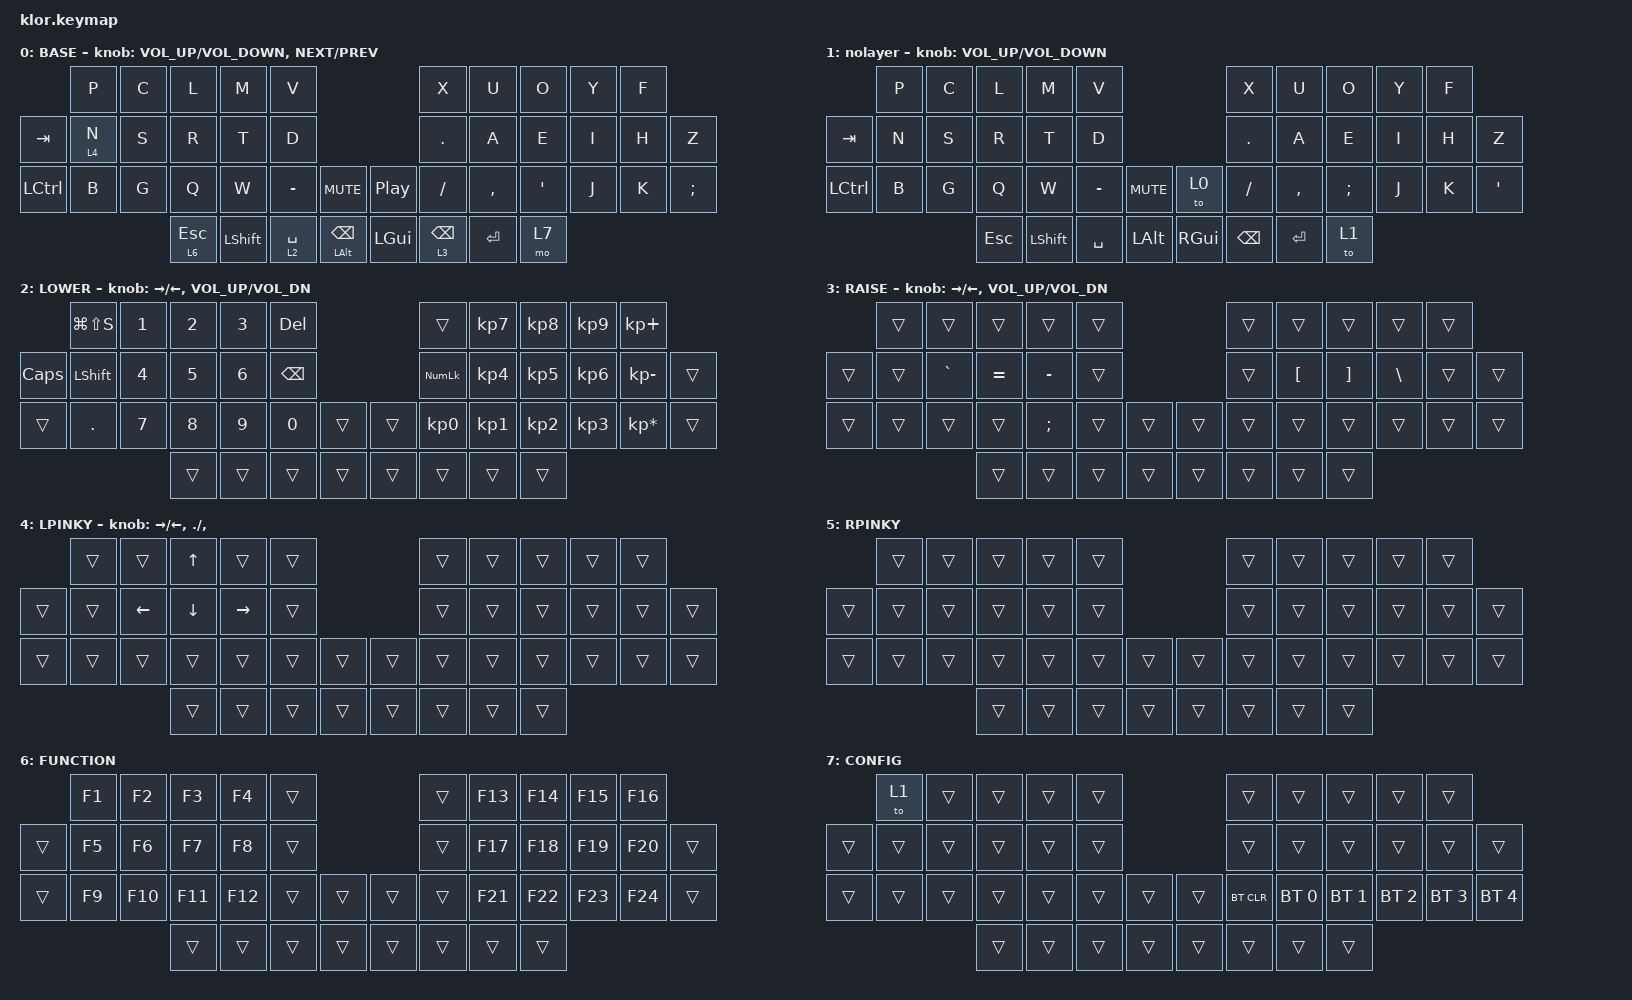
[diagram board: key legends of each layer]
//                               █         █    █            ▄▄▄▀▀▀▀▀▀▄▄▄        █▀▀▀▀▀▀▀▀▀▀█
//                               █        █     █          ▄▀            ▀▄      █          █
//                               █       █      █        ▄▀                ▀▄    █          █
//                               █      █       █        █                  █    █          █
//                               █     █        █       █                    █   █          █
//                               █    █         █       █                    █   █▄▄▄▄▄▄▄▄▄▄█
//                               █   █ █        █       █                    █   █      █
//                               █  █   █       █        █                  █    █       █
//                               █ █     █      █        ▀▄                ▄▀    █        █
//                               ██       █     █          ▀▄            ▄▀      █         █
//                               █         █    █▄▄▄▄▄▄▄▄    ▀▀▀▄▄▄▄▄▄▀▀▀        █          █
//
// ▄▄▄▄▄▄▄▄▄▄▄▄▄▄▄▄▄▄▄▄▄▄▄▄▄▄▄▄▄▄▄▄▄▄▄▄▄▄▄▄▄▄▄▄▄▄▄▄▄▄▄▄▄▄▄▄▄▄▄▄▄▄▄▄▄▄▄▄▄▄▄▄▄▄▄▄▄▄▄▄▄▄▄▄▄▄▄▄▄▄▄▄▄▄▄▄▄▄▄▄▄▄▄▄▄▄▄▄▄▄▄▄▄▄▄▄▄▄▄▄▄▄▄▄▄

#include <behaviors.dtsi>
#include <dt-bindings/zmk/bt.h>
#include <dt-bindings/zmk/keys.h>
#include <dt-bindings/zmk/pointing.h>

#define BASE   0
#define LOWER  1
#define RAISE  2
#define ADJUST 3

/ {
    behaviors {
        hm: homerow_mods {
            compatible = "zmk,behavior-hold-tap";
            label = "HOMEROW_MODS";
            #binding-cells = <2>;
            tapping-term-ms = <150>;
            quick_tap_ms = <0>;
            flavor = "tap-preferred";
            bindings = <&kp>, <&kp>;
        };

        enc_msc_vert: enc_msc_vert {
            compatible = "zmk,behavior-sensor-rotate";
            label = "ENC_MSC_VERT";
            #sensor-binding-cells = <0>;
            bindings = <&msc SCRL_UP>, <&msc SCRL_DOWN>;
        };

        enc_msc_hori: enc_msc_hori {
            compatible = "zmk,behavior-sensor-rotate";
            label = "ENC_MSC_HORI";
            #sensor-binding-cells = <0>;
            bindings = <&msc SCRL_LEFT>, <&msc SCRL_RIGHT>;
        };
    };

    combos {
        compatible = "zmk,combos";

        copycombo {
            bindings = <&kp LC(C)>;
            key-positions = <13 14>;
            timeout-ms = <30>;
            layers = <0>;
        };

        pastecombo {
            bindings = <&kp LC(V)>;
            key-positions = <14 25>;
            timeout-ms = <30>;
            require-prior-idle-ms = <30>;
            layers = <0>;
        };

        cutcombo {
            bindings = <&kp LC(X)>;
            key-positions = <13 3>;
            timeout-ms = <30>;
            require-prior-idle-ms = <30>;
            layers = <0>;
        };

        savecombo {
            bindings = <&kp LC(S)>;
            key-positions = <13 12>;
            timeout-ms = <30>;
            require-prior-idle-ms = <30>;
            layers = <0>;
        };

        undocombo {
            bindings = <&kp LC(Z)>;
            key-positions = <24 25>;
            timeout-ms = <30>;
            require-prior-idle-ms = <30>;
            layers = <0>;
        };

        redocombo {
            bindings = <&kp LC(LS(Z))>;
            key-positions = <24 26>;
            timeout-ms = <30>;
            require-prior-idle-ms = <30>;
            layers = <0>;
        };

        LOWERredoycombo {
            bindings = <&kp LC(Y)>;
            key-positions = <24 26>;
            timeout-ms = <30>;
            require-prior-idle-ms = <30>;
            layers = <2>;
        };

        alttab {
            bindings = <&kp LA(TAB)>;
            key-positions = <14 11>;
            timeout-ms = <30>;
            require-prior-idle-ms = <30>;
            layers = <0>;
        };

        clipboardpaste {
            bindings = <&kp LC(GRAVE)>;
            key-positions = <14 24>;
            timeout-ms = <30>;
            require-prior-idle-ms = <30>;
            layers = <0>;
        };

        gdlcopycombo {
            bindings = <&gallerydlcopy>;
            key-positions = <>;
            timeout-ms = <30>;
            require-prior-idle-ms = <30>;
            layers = <0>;
        };

        gdlpastecombo {
            bindings = <&gallerydlpaste>;
            key-positions = <>;
            timeout-ms = <30>;
            require-prior-idle-ms = <30>;
            layers = <0>;
        };

        entercombo {
            bindings = <&kp ENTER>;
            key-positions = <25 26>;
            timeout-ms = <30>;
            require-prior-idle-ms = <30>;
            layers = <0>;
        };

        ctrlbksp {
            bindings = <&kp LC(BACKSPACE)>;
            key-positions = <17 18>;
            timeout-ms = <30>;
            require-prior-idle-ms = <30>;
            layers = <0>;
        };

        ctrlcombo {
            bindings = <&kp LC(A)>;
            key-positions = <14 12>;
            timeout-ms = <30>;
            layers = <0>;
        };

        LPINKYtabright {
            bindings = <&kp LC(TAB)>;
            key-positions = <13 14>;
            timeout-ms = <30>;
            require-prior-idle-ms = <30>;
            layers = <4>;
        };

        LPINKYtableft {
            bindings = <&kp LC(LS(TAB))>;
            key-positions = <12 13>;
            timeout-ms = <30>;
            require-prior-idle-ms = <30>;
            layers = <4>;
        };

        LPINKYtabclose {
            bindings = <&kp LC(W)>;
            key-positions = <12 14>;
            timeout-ms = <30>;
            require-prior-idle-ms = <30>;
            layers = <4>;
        };

        LPINKYtabreopen {
            bindings = <&kp LC(LS(T))>;
            key-positions = <14 25>;
            timeout-ms = <30>;
            require-prior-idle-ms = <30>;
            layers = <4>;
        };

        LPINKYtabnew {
            bindings = <&kp LC(T)>;
            key-positions = <25 26>;
            timeout-ms = <30>;
            require-prior-idle-ms = <30>;
            layers = <4>;
        };

        LPINKYrefresh {
            bindings = <&kp K_REFRESH>;
            key-positions = <1 3>;
            timeout-ms = <30>;
            require-prior-idle-ms = <30>;
            layers = <4>;
        };

        comboaltf4 {
            bindings = <&kp LA(F4)>;
            key-positions = <>;
            timeout-ms = <30>;
            require-prior-idle-ms = <30>;
            layers = <0>;
        };

        FLASHMODE {
            bindings = <&bootloader>;
            key-positions = <10 21>;
            timeout-ms = <30>;
            require-prior-idle-ms = <30>;
            layers = <7>;
        };

        shiftbksp {
            bindings = <&kp LS(BACKSPACE)>;
            key-positions = <17 19>;
            timeout-ms = <30>;
            require-prior-idle-ms = <30>;
            layers = <0>;
        };

        ctrllarrow {
            bindings = <&kp LC(LEFT_ARROW)>;
            key-positions = <31 32>;
            timeout-ms = <30>;
            require-prior-idle-ms = <30>;
            layers = <0>;
        };

        ctrlrarrow {
            bindings = <&kp LC(RIGHT)>;
            key-positions = <32 33>;
            timeout-ms = <30>;
            require-prior-idle-ms = <30>;
            layers = <0>;
        };

        combohomeend {
            bindings = <&homeend>;
            key-positions = <33 31>;
            timeout-ms = <30>;
            require-prior-idle-ms = <30>;
            layers = <0>;
        };
    };

    macros {
        gallerydlcopy: gallerydlcopy {
            compatible = "zmk,behavior-macro";
            #binding-cells = <0>;
            bindings = <&kp LC(C) &kp LA(TAB)>;
            label = "GALLERYDLCOPY";
        };

        gallerydlpaste: gallerydlpaste {
            compatible = "zmk,behavior-macro";
            #binding-cells = <0>;
            bindings = <&kp LC(V) &kp SPACE &kp LA(TAB)>;
            label = "GALLERYDLPASTE";
        };

        homeend: homeend {
            compatible = "zmk,behavior-macro";
            #binding-cells = <0>;
            bindings = <&kp HOME &kp END>;
            label = "HOMEEND";
        };
    };

    keymap {
        compatible = "zmk,keymap";

        // ▄▄▄▄▄▄▄▄▄▄▄▄▄▄▄▄▄▄▄▄▄▄▄▄▄▄▄▄▄▄▄▄▄▄▄▄▄▄▄▄▄▄▄▄▄▄▄▄▄▄▄▄▄▄▄▄▄▄▄▄▄▄▄▄▄▄▄▄▄▄▄▄▄▄▄▄▄▄▄▄▄▄▄▄▄▄▄▄▄▄▄▄▄▄▄▄▄▄▄▄▄▄▄▄▄▄▄▄▄▄▄▄▄▄▄▄▄▄▄▄▄▄▄▄▄▄▄▄▄▄▄▄▄▄▄▄▄▄▄▄▄▄

        base_layer {
            // ┌───────────────────────────────────────────────────────────┐

            label = "BASE";

            // └───────────────────────────────────────────────────────────┘
            /*           ┌─────────┬─────────┬─────────┬─────────┬─────────┐                    ┌─────────┬─────────┬─────────┬─────────┬─────────┐
             │    Q    │    W    │    F    │    P    │    G    │                    │    J    │    L    │    U    │    Y    │    ;    │   
   ┌─────────┼─────────┼─────────┼─────────┼─────────┼─────────┤                    ├─────────┼─────────┼─────────┼─────────┼─────────┼─────────┐
   │   TAB   │    A    │    R    │    S    │    T    │    D    │                    │    H    │    N    │    E    │    I    │    O    │    "    │
   ├─────────┼─────────┼─────────┼─────────┼─────────┼─────────┤╭────────╮╭────────╮├─────────┼─────────┼─────────┼─────────┼─────────┼─────────┤
   │   DEL   │    Z    │    X    │    C    │    V    │    B    ││  MUTE  ││PLY/PSE ││    K    │    M    │    ,    │    .    │    /    │    \    │
   └─────────┴─────────┴─────────┼─────────┼─────────┼─────────┼╰────────╯╰────────╯┼─────────┼─────────┼─────────┼─────────┴─────────┴─────────┘
                                 │  CTRL   │  LOWER  │  SPACE  │   ALT   ││ CMD/WIN │  ENTER  │  RAISE  │  BSPCE  │  
                                 └─────────┴─────────┴─────────┴─────────┘└─────────┴─────────┴─────────┴─────────┘ */

            bindings = <
           &kp P    &kp C  &kp L         &kp M      &kp V                                              &kp X            &kp U      &kp O     &kp Y  &kp F
&kp TAB    &lt 4 N  &kp S  &kp R         &kp T      &kp D                                              &kp DOT          &kp A      &kp E     &kp I  &kp H  &kp Z
&kp LCTRL  &kp B    &kp G  &kp Q         &kp W      &kp MINUS    &kp C_MUTE          &kp C_PLAY_PAUSE  &kp FSLH         &kp COMMA  &kp APOS  &kp J  &kp K  &kp SEMICOLON
                           &lt 6 ESCAPE  &kp LSHFT  &lt 2 SPACE  &mt LALT BACKSPACE  &kp LGUI          &lt 3 BACKSPACE  &kp ENTER  &mo 7
            >;

            sensor-bindings =
                <&inc_dec_kp C_VOLUME_UP C_VOLUME_DOWN>,
                <&inc_dec_kp C_NEXT C_PREV>;
        };

        nolayer {
            bindings = <
           &kp P  &kp C  &kp L    &kp M      &kp V                            &kp X       &kp U      &kp O          &kp Y  &kp F
&kp TAB    &kp N  &kp S  &kp R    &kp T      &kp D                            &kp PERIOD  &kp A      &kp E          &kp I  &kp H  &kp Z
&kp LCTRL  &kp B  &kp G  &kp Q    &kp W      &kp MINUS  &kp C_MUTE  &to 0     &kp FSLH    &kp COMMA  &kp SEMICOLON  &kp J  &kp K  &kp APOS
                         &kp ESC  &kp LSHFT  &kp SPACE  &kp LALT    &kp RGUI  &kp BSPC    &kp ENTER  &to 1
            >;

            sensor-bindings = <&inc_dec_kp C_VOLUME_UP C_VOLUME_DOWN>;
        };

        lower_layer {
            // ┌───────────────────────────────────────────────────────────┐

            label = "LOWER";

            // └───────────────────────────────────────────────────────────┘
            /*           ┌─────────┬─────────┬─────────┬─────────┬─────────┐                    ┌─────────┬─────────┬─────────┬─────────┬─────────┐
             │         │         │    UP   │         │    {    │                    │    }    │    7    │    8    │    9    │    +    │
   ┌─────────┼─────────┼─────────┼─────────┼─────────┼─────────┤                    ├─────────┼─────────┼─────────┼─────────┼─────────┼─────────┐
   │         │         │   LEFT  │  DOWN   │  RIGHT  │    [    │                    │    ]    │    4    │    5    │    6    │    -    │         │
   ├─────────┼─────────┼─────────┼─────────┼─────────┼─────────┤╭────────╮╭────────╮├─────────┼─────────┼─────────┼─────────┼─────────┼─────────┤
   │         │         │   P UP  │ C LOCK  │ P DOWN  │    (    ││        ││        ││    )    │    1    │    2    │    3    │    *    │         │
   └─────────┴─────────┴─────────┼─────────┼─────────┼─────────┼╰────────╯╰────────╯┼─────────┼─────────┼─────────┼─────────┴─────────┴─────────┘
                                 │         │         │         │         ││         │         │    0    │         │  
                                 └─────────┴─────────┴─────────┴─────────┘└─────────┴─────────┴─────────┴─────────┘ */

            bindings = <
              &kp LG(LS(S))   &kp N1  &kp N2  &kp N3  &kp DEL                   &trans          &kp KP_N7  &kp KP_N8  &kp KP_N9  &kp KP_PLUS
&kp CAPSLOCK  &kp LEFT_SHIFT  &kp N4  &kp N5  &kp N6  &kp BSPC                  &kp KP_NUMLOCK  &kp KP_N4  &kp KP_N5  &kp KP_N6  &kp KP_MINUS     &trans
&trans        &kp PERIOD      &kp N7  &kp N8  &kp N9  &kp N0    &trans  &trans  &kp KP_N0       &kp KP_N1  &kp KP_N2  &kp KP_N3  &kp KP_MULTIPLY  &trans
                                      &trans  &trans  &trans    &trans  &trans  &trans          &trans     &trans
            >;

            sensor-bindings = <&inc_dec_kp RIGHT LEFT &inc_dec_kp C_VOL_UP C_VOL_DN>;
        };

        raise_layer {
            // ┌───────────────────────────────────────────────────────────┐

            label = "RAISE";

            // └───────────────────────────────────────────────────────────┘
            /*           ┌─────────┬─────────┬─────────┬─────────┬─────────┐                    ┌─────────┬─────────┬─────────┬─────────┬─────────┐
             │         │         │         │         │         │                    │         │         │    Ü    │         │         │
   ┌─────────┼─────────┼─────────┼─────────┼─────────┼─────────┤                    ├─────────┼─────────┼─────────┼─────────┼─────────┼─────────┐
   │    Ä    │         │    ß    │         │         │         │                    │         │         │         │         │    Ö    │         │
   ├─────────┼─────────┼─────────┼─────────┼─────────┼─────────┤╭────────╮╭────────╮├─────────┼─────────┼─────────┼─────────┼─────────┼─────────┤
   │         │         │         │         │         │         ││        ││        ││         │         │         │         │         │         │
   └─────────┴─────────┴─────────┼─────────┼─────────┼─────────┼╰────────╯╰────────╯┼─────────┼─────────┼─────────┼─────────┴─────────┴─────────┘
                                 │ ADJUST  │         │         │         ││         │         │         │         │  
                                 └─────────┴─────────┴─────────┴─────────┘└─────────┴─────────┴─────────┴─────────┘ */

            bindings = <
        &trans  &trans     &trans     &trans     &trans                  &trans  &trans    &trans    &trans    &trans
&trans  &trans  &kp GRAVE  &kp EQUAL  &kp MINUS  &trans                  &trans  &kp LBKT  &kp RBKT  &kp BSLH  &trans  &trans
&trans  &trans  &trans     &trans     &kp SEMI   &trans  &trans  &trans  &trans  &trans    &trans    &trans    &trans  &trans
                           &trans     &trans     &trans  &trans  &trans  &trans  &trans    &trans
            >;

            sensor-bindings = <&inc_dec_kp RIGHT LEFT &inc_dec_kp C_VOL_UP C_VOL_DN>;
        };

        l_pinky {
            // ┌───────────────────────────────────────────────────────────┐

            label = "LPINKY";

            // └───────────────────────────────────────────────────────────┘
            /*           ┌─────────┬─────────┬─────────┬─────────┬─────────┐                    ┌─────────┬─────────┬─────────┬─────────┬─────────┐
             │         │         │         │         │         │                    │         │         │         │         │         │
   ┌─────────┼─────────┼─────────┼─────────┼─────────┼─────────┤                    ├─────────┼─────────┼─────────┼─────────┼─────────┼─────────┐
   │         │         │         │         │         │         │                    │         │         │         │         │         │         │
   ├─────────┼─────────┼─────────┼─────────┼─────────┼─────────┤╭────────╮╭────────╮├─────────┼─────────┼─────────┼─────────┼─────────┼─────────┤
   │         │         │         │         │         │         ││        ││        ││         │         │         │         │         │         │
   └─────────┴─────────┴─────────┼─────────┼─────────┼─────────┼╰────────╯╰────────╯┼─────────┼─────────┼─────────┼─────────┴─────────┴─────────┘
                                 │         │         │         │         ││         │         │         │         │  
                                 └─────────┴─────────┴─────────┴─────────┘└─────────┴─────────┴─────────┴─────────┘ */

            bindings = <
        &trans  &trans    &kp UP    &trans     &trans                  &trans  &trans  &trans  &trans  &trans
&trans  &trans  &kp LEFT  &kp DOWN  &kp RIGHT  &trans                  &trans  &trans  &trans  &trans  &trans  &trans
&trans  &trans  &trans    &trans    &trans     &trans  &trans  &trans  &trans  &trans  &trans  &trans  &trans  &trans
                          &trans    &trans     &trans  &trans  &trans  &trans  &trans  &trans
            >;

            sensor-bindings =
                <&inc_dec_kp RIGHT LEFT>,
                <&inc_dec_kp PERIOD COMMA>;
        };

        r_pinky {
            bindings = <
        &trans  &trans  &trans  &trans  &trans                  &trans  &trans  &trans  &trans  &trans
&trans  &trans  &trans  &trans  &trans  &trans                  &trans  &trans  &trans  &trans  &trans  &trans
&trans  &trans  &trans  &trans  &trans  &trans  &trans  &trans  &trans  &trans  &trans  &trans  &trans  &trans
                        &trans  &trans  &trans  &trans  &trans  &trans  &trans  &trans
            >;

            label = "RPINKY";
        };

        f_layer {
            bindings = <
        &kp F1  &kp F2   &kp F3   &kp F4   &trans                  &trans  &kp F13  &kp F14  &kp F15  &kp F16
&trans  &kp F5  &kp F6   &kp F7   &kp F8   &trans                  &trans  &kp F17  &kp F18  &kp F19  &kp F20  &trans
&trans  &kp F9  &kp F10  &kp F11  &kp F12  &trans  &trans  &trans  &trans  &kp F21  &kp F22  &kp F23  &kp F24  &trans
                         &trans   &trans   &trans  &trans  &trans  &trans  &trans   &trans
            >;

            label = "FUNCTION";
        };

        c_layer {
            label = "CONFIG";
            bindings = <
        &to 1   &trans  &trans  &trans  &trans                  &trans      &trans        &trans        &trans        &trans
&trans  &trans  &trans  &trans  &trans  &trans                  &trans      &trans        &trans        &trans        &trans        &trans
&trans  &trans  &trans  &trans  &trans  &trans  &trans  &trans  &bt BT_CLR  &bt BT_SEL 0  &bt BT_SEL 1  &bt BT_SEL 2  &bt BT_SEL 3  &bt BT_SEL 4
                        &trans  &trans  &trans  &trans  &trans  &trans      &trans        &trans
            >;
        };
    };
};
